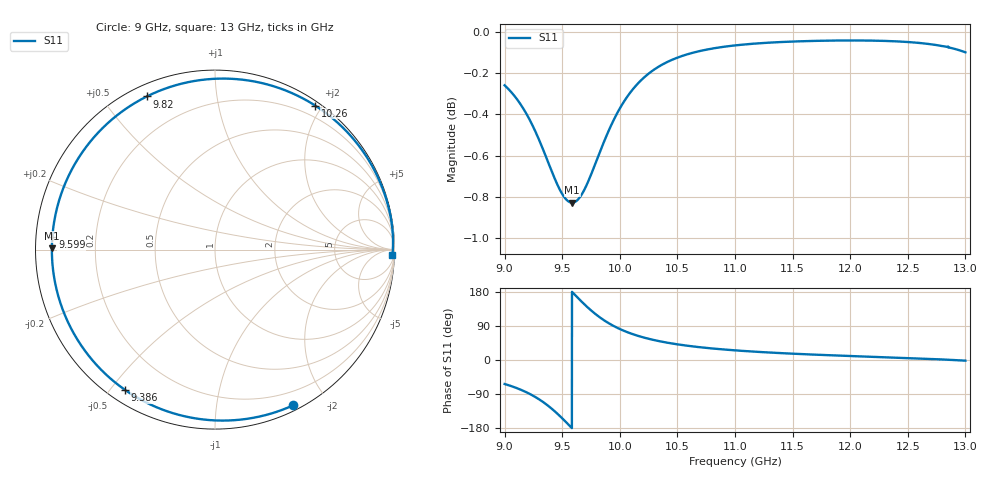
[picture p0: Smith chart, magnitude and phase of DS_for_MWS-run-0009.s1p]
! TOUCHSTONE file generated by CST DESIGN STUDIO
! Date and time: Tue Feb  4 17:54:14 2025
! Project name: C:\Work\MatlabApps\UnitCellOptimizationMatlab\CST\unitcell.cst
! Tree item: Tasks\Sweep1\SPara1\S-Parameters
! Header version: 2024
! Port assignment regex: !\s*Touchstone port\s*([0-9]+)\s*=\s*(CST MWS port|CST DES external port|CST DES block port)\s*(.+)\s* \(\"(.*)\"\)(\s*mode\s*([0-9]+))?.*
! Touchstone port assignment:
! Touchstone port 1 = CST DES external port 1 ("")
# GHz S MA R 50
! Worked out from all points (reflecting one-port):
!   4001 points, 9 GHz to 13 GHz, reference 50 ohm
!   lowest |S11| = -0.8 dB at 9.586 GHz (marker M1), VSWR 20.96, Z = 2.39 + j0.181 ohm
!   phase of S11 starts at -63 deg and turns -298 deg over the sweep
!   S11 on the Smith chart (normalised r, x): 9 GHz: 0.05, -1.62; 9.386 GHz: 0.05, -0.54; 9.599 GHz: 0.05, +0.04; 9.82 GHz: 0.05, +0.65; 10.26 GHz: 0.05, +1.91; 13 GHz: 21, -57
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9  0.9706 -63.3
9.048  0.9676 -67.9
9.117  0.9623 -75.5
9.235  0.95 -92.2
9.315  0.9392 -106.9
9.386  0.9285 -122.8
9.442  0.9203 -137.2
9.5  0.9134 -153.8
9.544  0.91 -167.3
9.586  0.9089 179.6
9.599  0.909 175.5
9.654  0.9118 158.4
9.716  0.9185 140.2
9.767  0.9258 126.6
9.82  0.934 114.0
9.86  0.9401 105.5
9.902  0.9461 97.4
10  0.9582 81.8
10.122  0.9692 67.2
10.261  0.9776 55.2
10.372  0.9821 47.9
10.5  0.9858 41.3
10.72  0.9898 32.9
11  0.9926 25.4
11.5  0.9947 16.7
12  0.9953 10.5
12.5  0.9945 5.1
13  0.9887 -1.8
